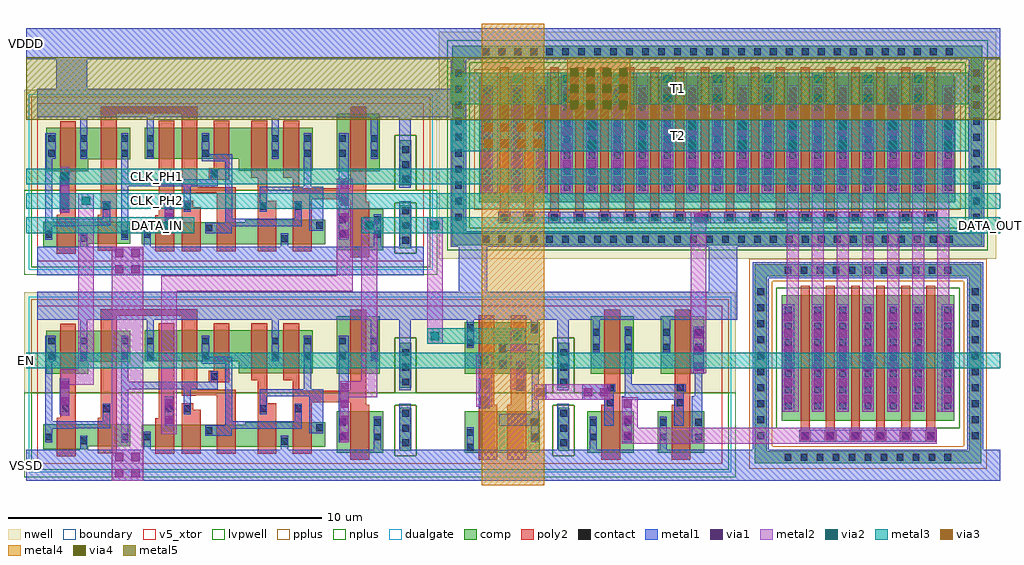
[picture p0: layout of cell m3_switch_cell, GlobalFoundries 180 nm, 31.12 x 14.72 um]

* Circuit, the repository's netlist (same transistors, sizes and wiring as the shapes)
* NGSPICE file created from switch_cell.ext - technology: gf180mcuD

.subckt gf180mcu_fd_sc_mcu9t5v0__latq_1 D E Q VDD VSS VNW VPW
X0 VSS a_1020_652# Q VPW nfet_06v0 ad=0.5808p pd=3.52u as=0.5808p ps=3.52u w=1.32u l=0.6u
X1 a_504_110# a_36_92# VDD VNW pfet_06v0 ad=0.44p pd=2.88u as=0.476p ps=2.18u w=1u l=0.5u
X2 VDD a_1020_652# Q VNW pfet_06v0 ad=0.8052p pd=4.54u as=0.8052p ps=4.54u w=1.83u l=0.5u
X3 a_1264_107# a_36_92# a_1020_652# VPW nfet_06v0 ad=0.263p pd=1.49u as=0.182p ps=1.22u w=0.7u l=0.6u
X4 VSS E a_36_92# VPW nfet_06v0 ad=0.263p pd=1.49u as=0.3476p ps=2.46u w=0.79u l=0.6u
X5 VSS a_1364_532# a_1264_107# VPW nfet_06v0 ad=0.2054p pd=1.31u as=0.263p ps=1.49u w=0.79u l=0.6u
X6 VDD E a_36_92# VNW pfet_06v0 ad=0.476p pd=2.18u as=0.6072p ps=3.64u w=1.38u l=0.5u
X7 VDD a_1364_532# a_1224_652# VNW pfet_06v0 ad=0.3588p pd=1.9u as=0.426p ps=2.08u w=1.38u l=0.5u
X8 a_872_652# D VDD VNW pfet_06v0 ad=0.12p pd=1.24u as=0.44p ps=2.88u w=1u l=0.5u
X9 a_1364_532# a_1020_652# VDD VNW pfet_06v0 ad=0.6072p pd=3.64u as=0.3588p ps=1.9u w=1.38u l=0.5u
X10 a_1020_652# a_504_110# a_872_107# VPW nfet_06v0 ad=0.182p pd=1.22u as=83.99999f ps=0.94u w=0.7u l=0.6u
X11 a_872_107# D VSS VPW nfet_06v0 ad=83.99999f pd=0.94u as=0.308p ps=2.28u w=0.7u l=0.6u
X12 a_1020_652# a_36_92# a_872_652# VNW pfet_06v0 ad=0.26p pd=1.52u as=0.12p ps=1.24u w=1u l=0.5u
X13 a_504_110# a_36_92# VSS VPW nfet_06v0 ad=0.308p pd=2.28u as=0.263p ps=1.49u w=0.7u l=0.6u
X14 a_1364_532# a_1020_652# VSS VPW nfet_06v0 ad=0.3476p pd=2.46u as=0.2054p ps=1.31u w=0.79u l=0.6u
X15 a_1224_652# a_504_110# a_1020_652# VNW pfet_06v0 ad=0.426p pd=2.08u as=0.26p ps=1.52u w=1u l=0.5u
.ends

.subckt dff_2ph_clk$1 Q CLK_PH1 CLK_PH2 D VDDD VSSD
Xgf180mcu_fd_sc_mcu9t5v0__latq_1_0 gf180mcu_fd_sc_mcu9t5v0__latq_1_1/Q CLK_PH2 Q VDDD
+ VSSD VDDD VSSD gf180mcu_fd_sc_mcu9t5v0__latq_1
Xgf180mcu_fd_sc_mcu9t5v0__latq_1_1 D CLK_PH1 gf180mcu_fd_sc_mcu9t5v0__latq_1_1/Q VDDD
+ VSSD VDDD VSSD gf180mcu_fd_sc_mcu9t5v0__latq_1
.ends

.subckt pfet G S D B
X0 S G D B pfet_03v3 ad=1.04p pd=4.52u as=1.04p ps=4.52u w=4u l=0.28u
X1 D G S B pfet_03v3 ad=1.04p pd=4.52u as=1.04p ps=4.52u w=4u l=0.28u
X2 D G S B pfet_03v3 ad=1.04p pd=4.52u as=1.04p ps=4.52u w=4u l=0.28u
X3 S G D B pfet_03v3 ad=1.04p pd=4.52u as=1.04p ps=4.52u w=4u l=0.28u
X4 S G D B pfet_03v3 ad=1.04p pd=4.52u as=1.04p ps=4.52u w=4u l=0.28u
X5 S G D B pfet_03v3 ad=1.04p pd=4.52u as=1.04p ps=4.52u w=4u l=0.28u
X6 D G S B pfet_03v3 ad=1.04p pd=4.52u as=1.04p ps=4.52u w=4u l=0.28u
X7 S G D B pfet_03v3 ad=1.04p pd=4.52u as=1.04p ps=4.52u w=4u l=0.28u
X8 D G S B pfet_03v3 ad=1.04p pd=4.52u as=1.04p ps=4.52u w=4u l=0.28u
X9 D G S B pfet_03v3 ad=1.04p pd=4.52u as=1.04p ps=4.52u w=4u l=0.28u
X10 S G D B pfet_03v3 ad=2.6p pd=9.3u as=1.04p ps=4.52u w=4u l=0.28u
X11 S G D B pfet_03v3 ad=1.04p pd=4.52u as=1.04p ps=4.52u w=4u l=0.28u
X12 D G S B pfet_03v3 ad=1.04p pd=4.52u as=1.04p ps=4.52u w=4u l=0.28u
X13 D G S B pfet_03v3 ad=1.04p pd=4.52u as=2.6p ps=9.3u w=4u l=0.28u
X14 S G D B pfet_03v3 ad=1.04p pd=4.52u as=1.04p ps=4.52u w=4u l=0.28u
X15 D G S B pfet_03v3 ad=1.04p pd=4.52u as=1.04p ps=4.52u w=4u l=0.28u
X16 S G D B pfet_03v3 ad=1.04p pd=4.52u as=1.04p ps=4.52u w=4u l=0.28u
X17 D G S B pfet_03v3 ad=1.04p pd=4.52u as=1.04p ps=4.52u w=4u l=0.28u
.ends

.subckt gf180mcu_fd_sc_mcu9t5v0__nand2_1 A1 A2 VDD VSS ZN VNW VPW
X0 ZN A2 VDD VNW pfet_06v0 ad=0.4277p pd=2.165u as=0.7238p ps=4.17u w=1.645u l=0.5u
X1 VDD A1 ZN VNW pfet_06v0 ad=0.7238p pd=4.17u as=0.4277p ps=2.165u w=1.645u l=0.5u
X2 ZN A1 a_245_69# VPW nfet_06v0 ad=0.5808p pd=3.52u as=0.2112p ps=1.64u w=1.32u l=0.6u
X3 a_245_69# A2 VSS VPW nfet_06v0 ad=0.2112p pd=1.64u as=0.5808p ps=3.52u w=1.32u l=0.6u
.ends

.subckt gf180mcu_fd_sc_mcu9t5v0__inv_1 I VDD VSS ZN VNW VPW
X0 ZN I VDD VNW pfet_06v0 ad=0.8052p pd=4.54u as=0.8052p ps=4.54u w=1.83u l=0.5u
X1 ZN I VSS VPW nfet_06v0 ad=0.5808p pd=3.52u as=0.5808p ps=3.52u w=1.32u l=0.6u
.ends

.subckt nfet G B D S
X0 D G S B nfet_03v3 ad=1.04p pd=4.52u as=1.04p ps=4.52u w=4u l=0.28u
X1 S G D B nfet_03v3 ad=1.04p pd=4.52u as=1.04p ps=4.52u w=4u l=0.28u
X2 S G D B nfet_03v3 ad=1.04p pd=4.52u as=1.04p ps=4.52u w=4u l=0.28u
X3 S G D B nfet_03v3 ad=2.44p pd=9.22u as=1.04p ps=4.52u w=4u l=0.28u
X4 D G S B nfet_03v3 ad=1.04p pd=4.52u as=2.44p ps=9.22u w=4u l=0.28u
X5 D G S B nfet_03v3 ad=1.04p pd=4.52u as=1.04p ps=4.52u w=4u l=0.28u
.ends

.subckt tgate$1 T1 T2 CON EN VSSD VDDD
Xpfet_0 pfet_0/G T2 T1 VDDD pfet
Xgf180mcu_fd_sc_mcu9t5v0__nand2_1_0 CON EN VDDD VSSD gf180mcu_fd_sc_mcu9t5v0__inv_1_0/I
+ VDDD VSSD gf180mcu_fd_sc_mcu9t5v0__nand2_1
Xgf180mcu_fd_sc_mcu9t5v0__inv_1_0 gf180mcu_fd_sc_mcu9t5v0__inv_1_0/I VDDD VSSD nfet_0/G
+ VDDD VSSD gf180mcu_fd_sc_mcu9t5v0__inv_1
Xgf180mcu_fd_sc_mcu9t5v0__inv_1_1 nfet_0/G VDDD VSSD pfet_0/G VDDD VSSD gf180mcu_fd_sc_mcu9t5v0__inv_1
Xnfet_0 nfet_0/G VSSD T1 T2 nfet
.ends

.subckt switch_cell VSSD VDDD T2 EN T1 DATA_IN CLK_PH2 CLK_PH1 DATA_OUT
Xdff_2ph_clk$1_0 DATA_OUT CLK_PH1 CLK_PH2 DATA_IN VDDD VSSD dff_2ph_clk$1
Xtgate$1_0 T1 T2 DATA_OUT EN VSSD VDDD tgate$1
.ends

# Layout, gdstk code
import gdstk
lib = gdstk.Library(unit=1e-6, precision=5e-09)
def R(c, l, rs):  # rectangles x0, y0, x1, y1
    for r in rs: c.add(gdstk.rectangle(r[:2], r[2:], *l))
def A(c, l, x, y, w, h, nx, ny, dx, dy):  # array of equal rectangles
    R(c, l, [(x+i*dx, y+j*dy, x+i*dx+w, y+j*dy+h) for i in range(nx) for j in range(ny)])
def P(c, l, *ps):  # polygons
    for p in ps: c.add(gdstk.Polygon(p, *l))
boundary = (0, 0)
nwell = (21, 0)
comp = (22, 0)
poly2 = (30, 0)
pplus = (31, 0)
nplus = (32, 0)
contact = (33, 0)
metal1 = (34, 0)
via1 = (35, 0)
metal2 = (36, 0)
via2 = (38, 0)
via3 = (40, 0)
via4 = (41, 0)
metal3 = (42, 0)
metal4 = (46, 0)
dualgate = (55, 0)
metal5 = (81, 0)
v5_xtor = (112, 1)
lvpwell = (204, 0)

gf180mcu_fd_sc_mcu9t5v0_ = lib.new_cell('gf180mcu_fd_sc_mcu9t5v0__latq_1$1')
R(gf180mcu_fd_sc_mcu9t5v0_, boundary, [(0,0,11.2,5.04)])
R(gf180mcu_fd_sc_mcu9t5v0_, nwell, [(-0.43,2.265,11.63,5.47)])
R(gf180mcu_fd_sc_mcu9t5v0_, comp, [(9.54,0.345,11.02,1.665), (9.54,2.865,10.92,4.695)])
P(gf180mcu_fd_sc_mcu9t5v0_, comp, [(0.18,0.46),(0.18,1.25),(2.96,1.25),(2.96,0.55),(1.62,0.55),(1.62,0.46)],
  [(0.28,2.865),(0.28,4.245),(2.96,4.245),(2.96,3.245),(1.62,3.245),(1.62,2.865)],
  [(6.42,2.88),(6.42,3.26),(3.42,3.26),(3.42,4.26),(8.78,4.26),(8.78,2.88)],
  [(3.32,0.535),(3.32,1.235),(6.62,1.235),(6.62,1.325),(9.18,1.325),(9.18,0.535)])
P(gf180mcu_fd_sc_mcu9t5v0_, poly2, [(0.62,0.24),(0.62,1.47),(0.72,1.47),(0.72,4.465),(1.22,4.465),(1.22,0.24)],
  [(3.76,0.315),(3.76,1.455),(3.86,1.455),(3.86,4.48),(4.36,4.48),(4.36,0.315)],
  [(4.6,0.315),(4.6,1.925),(4.96,1.925),(4.96,1.715),(5.2,1.715),(5.2,0.315)],
  [(5.46,2.6),(5.46,2.96),(5.62,2.96),(5.62,4.48),(6.12,4.48),(6.12,3.04),(6.115,3.04),(6.115,2.6)],
  [(5.72,0.315),(5.72,2.16),(5.055,2.16),(5.055,2.165),(4.6,2.165),(4.6,4.72),(2.52,4.72),(2.52,0.33),(1.92,0.33),(1.92,1.47),(2.02,1.47),(2.02,4.92),(5.1,4.92),(5.1,2.36),(6.32,2.36),(6.32,0.315)],
  [(7.02,0.315),(7.02,2.66),(6.82,2.66),(6.82,4.48),(7.32,4.48),(7.32,1.925),(7.62,1.925),(7.62,0.315)],
  [(9.98,0.125),(9.98,1.965),(8.74,1.965),(8.74,0.315),(8.14,0.315),(8.14,2.66),(7.84,2.66),(7.84,4.48),(8.34,4.48),(8.34,2.325),(9.98,2.325),(9.98,4.915),(10.48,4.915),(10.48,1.885),(10.58,1.885),(10.58,0.125)])
R(gf180mcu_fd_sc_mcu9t5v0_, pplus, [(-0.2,2.265,11.4,5.24)])
R(gf180mcu_fd_sc_mcu9t5v0_, nplus, [(-0.2,-0.2,11.4,2.265)])
R(gf180mcu_fd_sc_mcu9t5v0_, contact, [(7.77,0.605,7.99,0.825), (1.37,0.615,1.59,0.835), (0.25,0.74,0.47,0.96), (2.67,0.74,2.89,0.96), (3.39,0.74,3.61,0.96), (9.61,0.74,9.83,0.96), (10.73,0.74,10.95,0.96), (5.35,0.945,5.57,1.165), (8.89,1.035,9.11,1.255), (9.61,1.21,9.83,1.43), (10.73,1.21,10.95,1.43), (0.79,1.635,1.01,1.855), (2.09,1.635,2.31,1.855), (4.07,1.635,4.29,1.855), (4.67,1.635,4.89,1.855), (7.09,1.635,7.31,1.855), (8.21,1.635,8.43,1.855), (5.53,2.67,5.75,2.89), (0.35,3.33,0.57,3.55), (1.37,3.33,1.59,3.55), (2.67,3.33,2.89,3.55), (3.49,3.33,3.71,3.55), (5.25,3.33,5.47,3.55), (7.47,3.33,7.69,3.55), (8.49,3.33,8.71,3.55), (9.61,3.33,9.83,3.55), (10.63,3.33,10.85,3.55), (0.35,3.8,0.57,4.02), (1.37,3.8,1.59,4.02), (2.67,3.8,2.89,4.02), (3.49,3.8,3.71,4.02), (5.25,3.8,5.47,4.02), (7.47,3.8,7.69,4.02), (8.49,3.8,8.71,4.02), (9.61,3.8,9.83,4.02), (10.63,3.8,10.85,4.02)])
R(gf180mcu_fd_sc_mcu9t5v0_, metal1, [(9.605,0.68,9.93,4.08), (4.065,1.21,4.33,2.15), (0.71,1.575,1.015,2.71)])
P(gf180mcu_fd_sc_mcu9t5v0_, metal1, [(0.245,0.68),(0.245,4.08),(0.575,4.08),(0.575,3.27),(0.475,3.27),(0.475,1.345),(1.085,1.345),(1.085,1.355),(2.085,1.355),(2.085,1.915),(2.315,1.915),(2.315,1.125),(1.155,1.125),(1.155,1.115),(0.475,1.115),(0.475,0.68)],
  [(2.665,0.68),(2.665,4.08),(2.895,4.08),(2.895,2.61),(5.525,2.61),(5.525,2.95),(5.755,2.95),(5.755,2.38),(4.895,2.38),(4.895,1.575),(4.665,1.575),(4.665,2.38),(2.895,2.38),(2.895,0.68)],
  [(5.345,0.885),(5.345,1.225),(5.985,1.225),(5.985,3.18),(5.245,3.18),(5.245,4.08),(5.475,4.08),(5.475,3.41),(6.215,3.41),(6.215,1.345),(8.205,1.345),(8.205,1.915),(8.435,1.915),(8.435,1.115),(6.19,1.115),(6.19,0.885)],
  [(8.665,0.975),(8.665,2.145),(7.315,2.145),(7.315,1.575),(7.085,1.575),(7.085,2.375),(8.485,2.375),(8.485,4.08),(8.735,4.08),(8.735,2.365),(9.115,2.365),(9.115,0.975)],
  [(0,-0.45),(0,0.45),(1.365,0.45),(1.365,0.895),(1.595,0.895),(1.595,0.45),(3.385,0.45),(3.385,1.02),(3.615,1.02),(3.615,0.45),(7.765,0.45),(7.765,0.885),(7.995,0.885),(7.995,0.45),(10.725,0.45),(10.725,1.49),(10.955,1.49),(10.955,0.45),(11.2,0.45),(11.2,-0.45)],
  [(1.365,3.27),(1.365,4.59),(0,4.59),(0,5.49),(11.2,5.49),(11.2,4.59),(10.855,4.59),(10.855,3.27),(10.625,3.27),(10.625,4.59),(7.695,4.59),(7.695,3.27),(7.465,3.27),(7.465,4.59),(3.715,4.59),(3.715,3.27),(3.485,3.27),(3.485,4.59),(1.595,4.59),(1.595,3.27)])
R(gf180mcu_fd_sc_mcu9t5v0_, dualgate, [(-0.28,-0.28,11.48,5.32)])
R(gf180mcu_fd_sc_mcu9t5v0_, v5_xtor, [(0,0,11.2,5.04)])
R(gf180mcu_fd_sc_mcu9t5v0_, lvpwell, [(-0.43,-0.43,11.63,2.265)])
gf180mcu_fd_sc_mcu9t5v0_.add(gdstk.Label('D', (4.2,1.4), layer=34, texttype=10))
gf180mcu_fd_sc_mcu9t5v0_.add(gdstk.Label('E', (0.84,1.96), layer=34, texttype=10))
gf180mcu_fd_sc_mcu9t5v0_.add(gdstk.Label('Q', (9.8,2.52), layer=34, texttype=10))
gf180mcu_fd_sc_mcu9t5v0_.add(gdstk.Label('VDD', (5.6,5.49), layer=34, texttype=10))
gf180mcu_fd_sc_mcu9t5v0_.add(gdstk.Label('VSS', (5.6,-0.45), layer=34, texttype=10))
gf180mcu_fd_sc_mcu9t5v0_.add(gdstk.Label('& Vendor GLOBALFOUNDRIES', (0,2), layer=63, texttype=63))
gf180mcu_fd_sc_mcu9t5v0_.add(gdstk.Label('& Product GF018hv5v_green_sc9', (0,1.5), layer=63, texttype=63))
gf180mcu_fd_sc_mcu9t5v0_.add(gdstk.Label('& Version 2015q2v2', (0,1), layer=63, texttype=63))
gf180mcu_fd_sc_mcu9t5v0_.add(gdstk.Label('& Metric 1.00', (0,0.5), layer=63, texttype=63))
gf180mcu_fd_sc_mcu9t5v0_.add(gdstk.Label('VNW', (0.345,3.92), layer=21, texttype=10))
gf180mcu_fd_sc_mcu9t5v0_.add(gdstk.Label('VPW', (0.34,-0.085), layer=204, texttype=10))

c_gf180mcu_fd_sc_mcu9t5v0_ = lib.new_cell('gf180mcu_fd_sc_mcu9t5v0__filltie$2')
R(c_gf180mcu_fd_sc_mcu9t5v0_, boundary, [(0,0,1.12,5.04)])
R(c_gf180mcu_fd_sc_mcu9t5v0_, nwell, [(-0.43,2.265,1.55,5.47)])
R(c_gf180mcu_fd_sc_mcu9t5v0_, comp, [(0.36,0.41,0.72,1.785), (0.36,2.425,0.72,3.855)])
R(c_gf180mcu_fd_sc_mcu9t5v0_, pplus, [(0.2,0.25,0.88,1.865)])
P(c_gf180mcu_fd_sc_mcu9t5v0_, pplus, [(-0.2,2.265),(-0.2,5.24),(1.32,5.24),(1.32,2.265),(0.88,2.265),(0.88,4.015),(0.2,4.015),(0.2,2.265)])
P(c_gf180mcu_fd_sc_mcu9t5v0_, nplus, [(-0.2,-0.2),(-0.2,2.265),(0.2,2.265),(0.2,4.015),(0.88,4.015),(0.88,1.865),(0.2,1.865),(0.2,0.25),(0.88,0.25),(0.88,4.015),(0.88,2.265),(1.32,2.265),(1.32,-0.2)])
A(c_gf180mcu_fd_sc_mcu9t5v0_, contact, 0.43, 0.555, 0.22, 0.22, 1, 3, 0, 0.47)
A(c_gf180mcu_fd_sc_mcu9t5v0_, contact, 0.43, 2.495, 0.22, 0.22, 1, 3, 0, 0.47)
P(c_gf180mcu_fd_sc_mcu9t5v0_, metal1, [(0,-0.45),(0,0.45),(0.33,0.45),(0.33,1.91),(0.71,1.91),(0.71,0.45),(1.12,0.45),(1.12,-0.45)],
  [(0.33,2.34),(0.33,4.59),(0,4.59),(0,5.49),(1.12,5.49),(1.12,4.59),(0.71,4.59),(0.71,2.34)])
R(c_gf180mcu_fd_sc_mcu9t5v0_, dualgate, [(-0.28,-0.28,1.4,5.32)])
R(c_gf180mcu_fd_sc_mcu9t5v0_, v5_xtor, [(0,0,1.12,5.04)])
R(c_gf180mcu_fd_sc_mcu9t5v0_, lvpwell, [(-0.43,-0.43,1.55,2.265)])
c_gf180mcu_fd_sc_mcu9t5v0_.add(gdstk.Label('VSS', (0.56,-0.45), layer=34, texttype=10))
c_gf180mcu_fd_sc_mcu9t5v0_.add(gdstk.Label('VDD', (0.56,5.49), layer=34, texttype=10))
c_gf180mcu_fd_sc_mcu9t5v0_.add(gdstk.Label('& Vendor GLOBALFOUNDRIES', (0,2), layer=63, texttype=63))
c_gf180mcu_fd_sc_mcu9t5v0_.add(gdstk.Label('& Product GF018hv5v_green_sc9', (0,1.5), layer=63, texttype=63))
c_gf180mcu_fd_sc_mcu9t5v0_.add(gdstk.Label('& Version 2015q2v2', (0,1), layer=63, texttype=63))
c_gf180mcu_fd_sc_mcu9t5v0_.add(gdstk.Label('& Metric 1.00', (0,0.5), layer=63, texttype=63))

m3_dff_2ph_clk = lib.new_cell('m3_dff_2ph_clk')
R(m3_dff_2ph_clk, metal1, [(-11.2,-5.49,1.12,-4.59), (-11.2,-0.45,1.12,0.45)])
A(m3_dff_2ph_clk, via1, -1.54, -10.76, 0.26, 0.26, 1, 4, 0, 0.52)
A(m3_dff_2ph_clk, via1, -1.53, -4.3, 0.26, 0.26, 1, 4, 0, 0.52)
R(m3_dff_2ph_clk, via1, [(-7.135,-10.23,-6.875,-9.97), (-7.135,-9.71,-6.875,-9.45), (-10.455,-9.635,-10.195,-9.375), (-10.455,-9.115,-10.195,-8.855), (-7.135,-3.77,-6.875,-3.51), (-7.135,-3.25,-6.875,-2.99), (-10.455,-3.175,-10.195,-2.915), (-10.455,-2.655,-10.195,-2.395)])
R(m3_dff_2ph_clk, metal2, [(-1.55,-10.82,-1.27,-8.88), (-7.135,-10.56,-6.855,-9.385), (-10.465,-9.965,-10.185,-8.49), (-7.145,-4.1,-6.855,-2.925), (-10.465,-3.505,-10.185,-2.03)])
R(m3_dff_2ph_clk, via2, [(-7.135,-4.03,-6.875,-3.77), (-0.75,-4.03,-0.49,-3.77), (-9.785,-3.25,-9.525,-2.99), (-10.455,-2.47,-10.195,-2.21)])
m3_dff_2ph_clk.add(gdstk.FlexPath([(-11.205,-3.9),(-6.795,-3.9)], 0.5, ends="flush", simple_path=True, layer=42, datatype=0))  # metal3
m3_dff_2ph_clk.add(gdstk.FlexPath([(-0.87,-3.9),(1.12,-3.9)], 0.5, ends="flush", simple_path=True, layer=42, datatype=0))  # metal3
m3_dff_2ph_clk.add(gdstk.FlexPath([(-11.205,-3.12),(1.12,-3.12)], 0.5, ends="flush", simple_path=True, layer=42, datatype=0))  # metal3
m3_dff_2ph_clk.add(gdstk.FlexPath([(-11.205,-2.34),(1.12,-2.34)], 0.5, ends="flush", simple_path=True, layer=42, datatype=0))  # metal3
m3_dff_2ph_clk.add(gdstk.FlexPath([(-0.62,-3.65),(-0.62,-8.88)], 0.5, ends="flush", simple_path=True, layer=36, datatype=0))  # metal2
m3_dff_2ph_clk.add(gdstk.FlexPath([(-1.27,-9.13),(-0.37,-9.13)], 0.5, ends="flush", simple_path=True, layer=36, datatype=0))  # metal2
m3_dff_2ph_clk.add(gdstk.FlexPath([(-7.255,-5.75),(-1.15,-5.75)], 0.5, ends="flush", simple_path=True, layer=36, datatype=0))  # metal2
m3_dff_2ph_clk.add(gdstk.FlexPath([(-9.655,-2.87),(-9.655,-8.99)], 0.5, ends="flush", simple_path=True, layer=36, datatype=0))  # metal2
m3_dff_2ph_clk.add(gdstk.FlexPath([(-10.185,-8.74),(-9.905,-8.74)], 0.5, ends="flush", simple_path=True, layer=36, datatype=0))  # metal2
m3_dff_2ph_clk.add(gdstk.FlexPath([(-1.4,-2.42),(-1.4,-5.5)], 0.5, ends="flush", simple_path=True, layer=36, datatype=0))  # metal2
m3_dff_2ph_clk.add(gdstk.FlexPath([(-7.005,-6),(-7.005,-10.56)], 0.5, ends="flush", simple_path=True, layer=36, datatype=0))  # metal2
m3_dff_2ph_clk.add(gdstk.Reference(gf180mcu_fd_sc_mcu9t5v0_, (-11.2,-5.04)))
m3_dff_2ph_clk.add(gdstk.Reference(c_gf180mcu_fd_sc_mcu9t5v0_, (0,-5.04)))
m3_dff_2ph_clk.add(gdstk.Reference(gf180mcu_fd_sc_mcu9t5v0_, (-11.2,-11.5)))
m3_dff_2ph_clk.add(gdstk.Reference(c_gf180mcu_fd_sc_mcu9t5v0_, (0,-11.5)))
m3_dff_2ph_clk.add(gdstk.Label('VSSD', (-11.185,-11.945), layer=34, texttype=10))
m3_dff_2ph_clk.add(gdstk.Label('VDDD', (-11.185,-6.025), layer=34, texttype=10))
m3_dff_2ph_clk.add(gdstk.Label('VSSD', (-11.19,-5.48), layer=34, texttype=10))
m3_dff_2ph_clk.add(gdstk.Label('VDDD', (-11.19,0.44), layer=34, texttype=10))
m3_dff_2ph_clk.add(gdstk.Label('Q', (1.105,-3.9), layer=42, texttype=10))
m3_dff_2ph_clk.add(gdstk.Label('CLK_PH1', (-11.195,-2.34), layer=42, texttype=10))
m3_dff_2ph_clk.add(gdstk.Label('CLK_PH2', (-11.195,-3.12), layer=42, texttype=10))
m3_dff_2ph_clk.add(gdstk.Label('D', (-11.195,-3.9), layer=42, texttype=10))

c_gf180mcu_fd_sc_mcu9t5v0__ = lib.new_cell('gf180mcu_fd_sc_mcu9t5v0__fill_2')
R(c_gf180mcu_fd_sc_mcu9t5v0__, boundary, [(0,0,1.12,5.04)])
R(c_gf180mcu_fd_sc_mcu9t5v0__, nwell, [(-0.43,2.265,1.55,5.47)])
R(c_gf180mcu_fd_sc_mcu9t5v0__, pplus, [(-0.2,2.265,1.32,5.24)])
R(c_gf180mcu_fd_sc_mcu9t5v0__, nplus, [(-0.2,-0.2,1.32,2.265)])
R(c_gf180mcu_fd_sc_mcu9t5v0__, metal1, [(0,-0.45,1.12,0.45), (0,4.59,1.12,5.49)])
R(c_gf180mcu_fd_sc_mcu9t5v0__, dualgate, [(-0.28,-0.28,1.4,5.32)])
R(c_gf180mcu_fd_sc_mcu9t5v0__, v5_xtor, [(0,0,1.12,5.04)])
R(c_gf180mcu_fd_sc_mcu9t5v0__, lvpwell, [(-0.43,-0.43,1.55,2.265)])
c_gf180mcu_fd_sc_mcu9t5v0__.add(gdstk.Label('VDD', (0.51,5), layer=34, texttype=10))
c_gf180mcu_fd_sc_mcu9t5v0__.add(gdstk.Label('VSS', (0.52,0), layer=34, texttype=10))
c_gf180mcu_fd_sc_mcu9t5v0__.add(gdstk.Label('& Vendor GLOBALFOUNDRIES', (0,2), layer=63, texttype=63))
c_gf180mcu_fd_sc_mcu9t5v0__.add(gdstk.Label('& Product GF018hv5v_green_sc9', (0,1.5), layer=63, texttype=63))
c_gf180mcu_fd_sc_mcu9t5v0__.add(gdstk.Label('& Version 2015q2v2', (0,1), layer=63, texttype=63))
c_gf180mcu_fd_sc_mcu9t5v0__.add(gdstk.Label('& Metric 1.00', (0,0.5), layer=63, texttype=63))
c_gf180mcu_fd_sc_mcu9t5v0__.add(gdstk.Label('VNW', (0.345,3.92), layer=21, texttype=10))
c_gf180mcu_fd_sc_mcu9t5v0__.add(gdstk.Label('VPW', (0.34,-0.085), layer=204, texttype=10))

c_gf180mcu_fd_sc_mcu9t5v0___ = lib.new_cell('gf180mcu_fd_sc_mcu9t5v0__filltie')
R(c_gf180mcu_fd_sc_mcu9t5v0___, boundary, [(0,0,1.12,5.04)])
R(c_gf180mcu_fd_sc_mcu9t5v0___, nwell, [(-0.43,2.265,1.55,5.47)])
R(c_gf180mcu_fd_sc_mcu9t5v0___, comp, [(0.36,0.41,0.72,1.785), (0.36,2.425,0.72,3.855)])
R(c_gf180mcu_fd_sc_mcu9t5v0___, pplus, [(0.2,0.25,0.88,1.865)])
P(c_gf180mcu_fd_sc_mcu9t5v0___, pplus, [(-0.2,2.265),(-0.2,5.24),(1.32,5.24),(1.32,2.265),(0.88,2.265),(0.88,4.015),(0.2,4.015),(0.2,2.265)])
P(c_gf180mcu_fd_sc_mcu9t5v0___, nplus, [(-0.2,-0.2),(-0.2,2.265),(0.2,2.265),(0.2,4.015),(0.88,4.015),(0.88,1.865),(0.2,1.865),(0.2,0.25),(0.88,0.25),(0.88,4.015),(0.88,2.265),(1.32,2.265),(1.32,-0.2)])
A(c_gf180mcu_fd_sc_mcu9t5v0___, contact, 0.43, 0.555, 0.22, 0.22, 1, 3, 0, 0.47)
A(c_gf180mcu_fd_sc_mcu9t5v0___, contact, 0.43, 2.495, 0.22, 0.22, 1, 3, 0, 0.47)
P(c_gf180mcu_fd_sc_mcu9t5v0___, metal1, [(0,-0.45),(0,0.45),(0.33,0.45),(0.33,1.91),(0.71,1.91),(0.71,0.45),(1.12,0.45),(1.12,-0.45)],
  [(0.33,2.34),(0.33,4.59),(0,4.59),(0,5.49),(1.12,5.49),(1.12,4.59),(0.71,4.59),(0.71,2.34)])
R(c_gf180mcu_fd_sc_mcu9t5v0___, dualgate, [(-0.28,-0.28,1.4,5.32)])
R(c_gf180mcu_fd_sc_mcu9t5v0___, v5_xtor, [(0,0,1.12,5.04)])
R(c_gf180mcu_fd_sc_mcu9t5v0___, lvpwell, [(-0.43,-0.43,1.55,2.265)])
c_gf180mcu_fd_sc_mcu9t5v0___.add(gdstk.Label('VSS', (0.56,-0.45), layer=34, texttype=10))
c_gf180mcu_fd_sc_mcu9t5v0___.add(gdstk.Label('VDD', (0.56,5.49), layer=34, texttype=10))
c_gf180mcu_fd_sc_mcu9t5v0___.add(gdstk.Label('& Vendor GLOBALFOUNDRIES', (0,2), layer=63, texttype=63))
c_gf180mcu_fd_sc_mcu9t5v0___.add(gdstk.Label('& Product GF018hv5v_green_sc9', (0,1.5), layer=63, texttype=63))
c_gf180mcu_fd_sc_mcu9t5v0___.add(gdstk.Label('& Version 2015q2v2', (0,1), layer=63, texttype=63))
c_gf180mcu_fd_sc_mcu9t5v0___.add(gdstk.Label('& Metric 1.00', (0,0.5), layer=63, texttype=63))

c_gf180mcu_fd_sc_mcu9t5v0____ = lib.new_cell('gf180mcu_fd_sc_mcu9t5v0__inv_1$1')
R(c_gf180mcu_fd_sc_mcu9t5v0____, boundary, [(0,0,2.24,5.04)])
R(c_gf180mcu_fd_sc_mcu9t5v0____, nwell, [(-0.43,2.265,2.67,5.47)])
R(c_gf180mcu_fd_sc_mcu9t5v0____, comp, [(0.18,0.345,1.66,1.665), (0.28,2.865,1.66,4.695)])
P(c_gf180mcu_fd_sc_mcu9t5v0____, poly2, [(0.62,0.125),(0.62,1.885),(0.72,1.885),(0.72,4.915),(1.22,4.915),(1.22,0.125)])
R(c_gf180mcu_fd_sc_mcu9t5v0____, pplus, [(-0.2,2.265,2.44,5.24)])
R(c_gf180mcu_fd_sc_mcu9t5v0____, nplus, [(-0.2,-0.2,2.44,2.265)])
R(c_gf180mcu_fd_sc_mcu9t5v0____, contact, [(0.25,0.74,0.47,0.96), (1.37,0.74,1.59,0.96), (0.25,1.21,0.47,1.43), (1.37,1.21,1.59,1.43), (0.79,1.835,1.01,2.055), (0.79,2.305,1.01,2.525), (0.35,3.61,0.57,3.83), (1.37,3.61,1.59,3.83), (0.35,4.08,0.57,4.3), (1.37,4.08,1.59,4.3)])
P(c_gf180mcu_fd_sc_mcu9t5v0____, metal1, [(0.71,1.21),(0.71,2.53),(1.07,2.53),(1.07,2.3),(1.015,2.3),(1.015,1.21)],
  [(1.27,0.68),(1.27,2.15),(1.365,2.15),(1.365,4.36),(1.595,4.36),(1.595,0.68)],
  [(0,-0.45),(0,0.45),(0.245,0.45),(0.245,1.49),(0.475,1.49),(0.475,0.45),(2.24,0.45),(2.24,-0.45)],
  [(0.345,3.55),(0.345,4.59),(0,4.59),(0,5.49),(2.24,5.49),(2.24,4.59),(0.575,4.59),(0.575,3.55)])
R(c_gf180mcu_fd_sc_mcu9t5v0____, dualgate, [(-0.28,-0.28,2.52,5.32)])
R(c_gf180mcu_fd_sc_mcu9t5v0____, v5_xtor, [(0,0,2.24,5.04)])
R(c_gf180mcu_fd_sc_mcu9t5v0____, lvpwell, [(-0.43,-0.43,2.67,2.265)])
c_gf180mcu_fd_sc_mcu9t5v0____.add(gdstk.Label('I', (0.84,1.96), layer=34, texttype=10))
c_gf180mcu_fd_sc_mcu9t5v0____.add(gdstk.Label('VDD', (1.12,5.49), layer=34, texttype=10))
c_gf180mcu_fd_sc_mcu9t5v0____.add(gdstk.Label('VSS', (1.12,-0.45), layer=34, texttype=10))
c_gf180mcu_fd_sc_mcu9t5v0____.add(gdstk.Label('ZN', (1.4,1.96), layer=34, texttype=10))
c_gf180mcu_fd_sc_mcu9t5v0____.add(gdstk.Label('& Vendor GLOBALFOUNDRIES', (0,2), layer=63, texttype=63))
c_gf180mcu_fd_sc_mcu9t5v0____.add(gdstk.Label('& Product GF018hv5v_green_sc9', (0,1.5), layer=63, texttype=63))
c_gf180mcu_fd_sc_mcu9t5v0____.add(gdstk.Label('& Version 2015q2v2', (0,1), layer=63, texttype=63))
c_gf180mcu_fd_sc_mcu9t5v0____.add(gdstk.Label('& Metric 1.00', (0,0.5), layer=63, texttype=63))
c_gf180mcu_fd_sc_mcu9t5v0____.add(gdstk.Label('VNW', (0.345,3.92), layer=21, texttype=10))
c_gf180mcu_fd_sc_mcu9t5v0____.add(gdstk.Label('VPW', (0.34,-0.085), layer=204, texttype=10))

c_gf180mcu_fd_sc_mcu9t5v0_____ = lib.new_cell('gf180mcu_fd_sc_mcu9t5v0__nand2_1$1')
R(c_gf180mcu_fd_sc_mcu9t5v0_____, boundary, [(0,0,2.8,5.04)])
R(c_gf180mcu_fd_sc_mcu9t5v0_____, nwell, [(-0.43,2.265,3.23,5.47)])
R(c_gf180mcu_fd_sc_mcu9t5v0_____, comp, [(0.185,0.345,2.585,1.665), (0.185,2.865,2.585,4.51)])
P(c_gf180mcu_fd_sc_mcu9t5v0_____, poly2, [(0.625,0.125),(0.625,4.73),(1.125,4.73),(1.125,1.885),(1.225,1.885),(1.225,0.125)],
  [(1.545,0.125),(1.545,1.885),(1.645,1.885),(1.645,4.73),(2.145,4.73),(2.145,0.125)])
R(c_gf180mcu_fd_sc_mcu9t5v0_____, pplus, [(-0.2,2.265,3,5.24)])
R(c_gf180mcu_fd_sc_mcu9t5v0_____, nplus, [(-0.2,-0.2,3,2.265)])
R(c_gf180mcu_fd_sc_mcu9t5v0_____, contact, [(0.255,0.415,0.475,0.635), (2.295,0.74,2.515,0.96), (0.255,0.885,0.475,1.105), (2.295,1.21,2.515,1.43), (1.835,2.39,2.055,2.61), (0.695,2.475,0.915,2.695), (1.275,3.08,1.495,3.3), (1.275,3.55,1.495,3.77), (0.255,3.75,0.475,3.97), (0.255,4.22,0.475,4.44), (2.295,4.22,2.515,4.44)])
R(c_gf180mcu_fd_sc_mcu9t5v0_____, metal1, [(0.635,1.77,0.975,2.71), (1.83,2.33,2.09,3.27)])
P(c_gf180mcu_fd_sc_mcu9t5v0_____, metal1, [(2.29,0.68),(2.29,1.21),(1.27,1.21),(1.27,1.59),(2.32,1.59),(2.32,3.6),(1.53,3.6),(1.53,3.02),(1.27,3.02),(1.27,3.83),(2.55,3.83),(2.55,0.68)],
  [(0,-0.45),(0,0.45),(0.25,0.45),(0.25,1.165),(0.48,1.165),(0.48,0.45),(2.8,0.45),(2.8,-0.45)],
  [(0.25,3.69),(0.25,4.59),(0,4.59),(0,5.49),(2.8,5.49),(2.8,4.59),(2.52,4.59),(2.52,4.16),(2.29,4.16),(2.29,4.59),(0.48,4.59),(0.48,3.69)])
R(c_gf180mcu_fd_sc_mcu9t5v0_____, dualgate, [(-0.28,-0.28,3.08,5.32)])
R(c_gf180mcu_fd_sc_mcu9t5v0_____, v5_xtor, [(0,0,2.8,5.04)])
R(c_gf180mcu_fd_sc_mcu9t5v0_____, lvpwell, [(-0.43,-0.43,3.23,2.265)])
c_gf180mcu_fd_sc_mcu9t5v0_____.add(gdstk.Label('A1', (1.96,2.52), layer=34, texttype=10))
c_gf180mcu_fd_sc_mcu9t5v0_____.add(gdstk.Label('A2', (0.84,1.96), layer=34, texttype=10))
c_gf180mcu_fd_sc_mcu9t5v0_____.add(gdstk.Label('VDD', (1.4,5.49), layer=34, texttype=10))
c_gf180mcu_fd_sc_mcu9t5v0_____.add(gdstk.Label('VSS', (1.4,-0.45), layer=34, texttype=10))
c_gf180mcu_fd_sc_mcu9t5v0_____.add(gdstk.Label('ZN', (1.96,1.4), layer=34, texttype=10))
c_gf180mcu_fd_sc_mcu9t5v0_____.add(gdstk.Label('& Vendor GLOBALFOUNDRIES', (0,2), layer=63, texttype=63))
c_gf180mcu_fd_sc_mcu9t5v0_____.add(gdstk.Label('& Product GF018hv5v_green_sc9', (0,1.5), layer=63, texttype=63))
c_gf180mcu_fd_sc_mcu9t5v0_____.add(gdstk.Label('& Version 2015q2v2', (0,1), layer=63, texttype=63))
c_gf180mcu_fd_sc_mcu9t5v0_____.add(gdstk.Label('& Metric 1.00', (0,0.5), layer=63, texttype=63))
c_gf180mcu_fd_sc_mcu9t5v0_____.add(gdstk.Label('VNW', (0.345,3.92), layer=21, texttype=10))
c_gf180mcu_fd_sc_mcu9t5v0_____.add(gdstk.Label('VPW', (0.34,-0.085), layer=204, texttype=10))

nfet_1 = lib.new_cell('nfet$1')
R(nfet_1, comp, [(-0.42,0,0,4), (0,0,4.66,4), (4.66,0,5.08,4)])
P(nfet_1, comp, [(-1.28,-1.36),(-1.28,4.61),(-0.9,4.61),(-0.9,-0.98),(5.56,-0.98),(5.56,4.61),(-1.28,4.61),(-1.28,4.99),(5.94,4.99),(5.94,-1.36)])
A(nfet_1, poly2, 0.15, -0.66, 0.36, 0.36, 6, 1, 0.8, 0)
A(nfet_1, poly2, 0.19, -0.3, 0.28, 4.6, 6, 1, 0.8, 0)
P(nfet_1, pplus, [(-1.45,-1.53),(-1.45,4.44),(-0.73,4.44),(-0.73,-0.81),(5.39,-0.81),(5.39,4.44),(-1.45,4.44),(-1.45,5.16),(6.11,5.16),(6.11,-1.53)])
R(nfet_1, nplus, [(-0.59,-0.24,5.25,4.24)])
A(nfet_1, contact, -0.33, -1.28, 0.22, 0.22, 11, 2, 0.51, 5.97)
A(nfet_1, contact, -1.2, -0.59, 0.22, 0.22, 1, 10, 0, 0.51)
A(nfet_1, contact, 0.22, -0.59, 0.22, 0.22, 6, 1, 0.8, 0)
A(nfet_1, contact, 5.64, -0.59, 0.22, 0.22, 1, 10, 0, 0.51)
A(nfet_1, contact, -0.32, 0.36, 0.22, 0.22, 1, 7, 0, 0.51)
A(nfet_1, contact, 0.62, 0.36, 0.22, 0.22, 5, 7, 0.8, 0.51)
A(nfet_1, contact, 4.76, 0.36, 0.22, 0.22, 1, 7, 0, 0.51)
A(nfet_1, metal1, 0.14, -0.67, 0.38, 0.38, 6, 1, 0.8, 0)
A(nfet_1, metal1, 0.54, 0.28, 0.38, 3.44, 5, 1, 0.8, 0)
R(nfet_1, metal1, [(-0.4,0.28,-0.02,3.72), (4.68,0.28,5.06,3.72)])
nfet_1.add(gdstk.FlexPath([(0.14,-0.48),(4.52,-0.48)], 0.38, ends="flush", simple_path=True, layer=34, datatype=0))  # metal1
nfet_1.add(gdstk.FlexPath([(-1.34,4.8),(5.75,4.8),(5.75,-1.17),(-1.09,-1.17),(-1.09,4.55)], 0.5, ends="flush", simple_path=True, layer=34, datatype=0))  # metal1
nfet_1.add(gdstk.Label('G', (0.22,-0.59), layer=34, texttype=10))
nfet_1.add(gdstk.Label('B', (-1.09,-1.17), layer=34, texttype=10))
nfet_1.add(gdstk.Label('D', (0.62,0.36), layer=34, texttype=10))
nfet_1.add(gdstk.Label('S', (-0.32,0.36), layer=34, texttype=10))
nfet_1.add(gdstk.Label('S', (1.42,0.36), layer=34, texttype=10))
nfet_1.add(gdstk.Label('S', (4.76,0.36), layer=34, texttype=10))
nfet_1.add(gdstk.Label('S', (3.02,0.36), layer=34, texttype=10))
nfet_1.add(gdstk.Label('D', (2.22,0.36), layer=34, texttype=10))
nfet_1.add(gdstk.Label('D', (3.82,0.36), layer=34, texttype=10))

pfet_1 = lib.new_cell('pfet$1')
R(pfet_1, nwell, [(-1.76,-1.81,16.02,5.43)])
R(pfet_1, comp, [(-0.46,0,0,4), (0,0,14.26,4), (14.26,0,14.72,4)])
P(pfet_1, comp, [(-1.32,-1.37),(-1.32,4.61),(-0.94,4.61),(-0.94,-0.99),(15.2,-0.99),(15.2,4.61),(-1.32,4.61),(-1.32,4.99),(15.58,4.99),(15.58,-1.37)])
A(pfet_1, poly2, 0.14, -0.68, 0.38, 0.38, 18, 1, 0.8, 0)
A(pfet_1, poly2, 0.19, -0.3, 0.28, 4.6, 18, 1, 0.8, 0)
R(pfet_1, pplus, [(-0.63,-0.24,14.89,4.24)])
A(pfet_1, contact, -0.375, -1.29, 0.22, 0.22, 30, 2, 0.51, 5.98)
A(pfet_1, contact, 0.22, -0.6, 0.22, 0.22, 18, 1, 0.8, 0)
A(pfet_1, contact, -1.24, -0.595, 0.22, 0.22, 1, 10, 0, 0.51)
A(pfet_1, contact, 15.28, -0.595, 0.22, 0.22, 1, 10, 0, 0.51)
A(pfet_1, contact, -0.34, 0.36, 0.22, 0.22, 1, 7, 0, 0.51)
A(pfet_1, contact, 0.62, 0.36, 0.22, 0.22, 17, 7, 0.8, 0.51)
A(pfet_1, contact, 14.38, 0.36, 0.22, 0.22, 1, 7, 0, 0.51)
A(pfet_1, metal1, 0.14, -0.68, 0.38, 0.38, 18, 1, 0.8, 0)
A(pfet_1, metal1, 0.54, 0.28, 0.38, 3.44, 17, 1, 0.8, 0)
R(pfet_1, metal1, [(-0.42,0.28,-0.04,3.72), (14.3,0.28,14.68,3.72)])
pfet_1.add(gdstk.FlexPath([(0.14,-0.49),(14.12,-0.49)], 0.38, ends="flush", simple_path=True, layer=34, datatype=0))  # metal1
pfet_1.add(gdstk.FlexPath([(-1.38,4.8),(15.39,4.8),(15.39,-1.18),(-1.13,-1.18),(-1.13,4.55)], 0.5, ends="flush", simple_path=True, layer=34, datatype=0))  # metal1
pfet_1.add(gdstk.FlexPath([(-1.49,4.8),(15.39,4.8),(15.39,-1.18),(-1.13,-1.18),(-1.13,4.44)], 0.72, ends="flush", simple_path=True, layer=32, datatype=0))  # nplus
pfet_1.add(gdstk.Label('G', (0.22,-0.6), layer=34, texttype=10))
pfet_1.add(gdstk.Label('S', (-0.34,0.36), layer=34, texttype=10))
pfet_1.add(gdstk.Label('S', (14.38,0.36), layer=34, texttype=10))
pfet_1.add(gdstk.Label('S', (12.62,0.36), layer=34, texttype=10))
pfet_1.add(gdstk.Label('S', (11.02,0.36), layer=34, texttype=10))
pfet_1.add(gdstk.Label('S', (9.42,0.36), layer=34, texttype=10))
pfet_1.add(gdstk.Label('S', (7.82,0.365), layer=34, texttype=10))
pfet_1.add(gdstk.Label('S', (6.22,0.365), layer=34, texttype=10))
pfet_1.add(gdstk.Label('S', (4.62,0.36), layer=34, texttype=10))
pfet_1.add(gdstk.Label('S', (3.02,0.36), layer=34, texttype=10))
pfet_1.add(gdstk.Label('S', (1.42,0.365), layer=34, texttype=10))
pfet_1.add(gdstk.Label('D', (10.22,0.355), layer=34, texttype=10))
pfet_1.add(gdstk.Label('D', (8.62,0.355), layer=34, texttype=10))
pfet_1.add(gdstk.Label('D', (7.02,0.36), layer=34, texttype=10))
pfet_1.add(gdstk.Label('D', (5.42,0.36), layer=34, texttype=10))
pfet_1.add(gdstk.Label('D', (3.82,0.355), layer=34, texttype=10))
pfet_1.add(gdstk.Label('D', (2.22,0.355), layer=34, texttype=10))
pfet_1.add(gdstk.Label('D', (0.62,0.36), layer=34, texttype=10))
pfet_1.add(gdstk.Label('D', (11.82,0.355), layer=34, texttype=10))
pfet_1.add(gdstk.Label('D', (13.42,0.36), layer=34, texttype=10))
pfet_1.add(gdstk.Label('B', (-1.13,-1.18), layer=34, texttype=10))

m3_tgate = lib.new_cell('m3_tgate')
A(m3_tgate, via1, -0.6, -5.29, 0.26, 0.26, 1, 3, 0, 0.52)
A(m3_tgate, via1, 5.06, -5.28, 0.26, 0.26, 6, 1, 0.8, 0)
A(m3_tgate, via1, 4.52, -4.1, 0.26, 0.26, 1, 6, 0, 0.52)
A(m3_tgate, via1, 5.46, -4.1, 0.26, 0.26, 5, 6, 0.8, 0.52)
A(m3_tgate, via1, 9.6, -4.1, 0.26, 0.26, 1, 6, 0, 0.52)
A(m3_tgate, via1, 1.655, -3.08, 0.26, 0.26, 1, 3, 0, 0.52)
A(m3_tgate, via1, -5.1, 2.87, 0.26, 0.26, 1, 6, 0, 0.52)
A(m3_tgate, via1, -4.14, 2.87, 0.26, 0.26, 17, 6, 0.8, 0.52)
A(m3_tgate, via1, 9.62, 2.87, 0.26, 0.26, 1, 6, 0, 0.52)
R(m3_tgate, via1, [(-5.18,-4.17,-4.92,-3.91), (-3.385,-3.89,-3.125,-3.63), (-1.87,-3.89,-1.61,-3.63), (-1.35,-3.89,-1.09,-3.63), (-5.18,-3.65,-4.92,-3.39), (-4.025,-3.61,-3.765,-3.35), (-4.025,-3.09,-3.765,-2.83), (1.655,1.68,1.915,1.94)])
A(m3_tgate, via2, -3.34, 3.99, 0.26, 0.26, 8, 2, 1.6, 0.62)
R(m3_tgate, via2, [(-5.18,-2.88,-4.92,-2.62), (-4.105,-2.1,-3.845,-1.84), (-5.1,3.99,-4.84,4.25), (9.62,3.99,9.88,4.25), (-5.1,4.61,-4.84,4.87), (9.62,4.61,9.88,4.87), (-4.135,5.48,-3.875,5.74), (-2.54,5.48,-2.28,5.74), (-0.94,5.48,-0.68,5.74), (0.665,5.48,0.925,5.74), (2.26,5.48,2.52,5.74), (3.86,5.48,4.12,5.74), (5.465,5.48,5.725,5.74), (7.06,5.48,7.32,5.74), (8.66,5.48,8.92,5.74), (-4.135,6.1,-3.875,6.36), (-2.54,6.1,-2.28,6.36), (-0.94,6.1,-0.68,6.36), (0.665,6.1,0.925,6.36), (2.26,6.1,2.52,6.36), (3.86,6.1,4.12,6.36), (5.465,6.1,5.725,6.36), (7.06,6.1,7.32,6.36), (8.66,6.1,8.92,6.36)])
m3_tgate.add(gdstk.FlexPath([(1.785,-3.15),(1.785,-1.68)], 0.34, ends="flush", simple_path=True, layer=34, datatype=0))  # metal1
m3_tgate.add(gdstk.FlexPath([(-6.12,7.1),(10.65,7.1),(10.65,1.12),(-5.87,1.12),(-5.87,6.85)], 0.5, ends="flush", simple_path=True, layer=34, datatype=0))  # metal1
m3_tgate.add(gdstk.FlexPath([(3.52,0.13),(10.61,0.13),(10.61,-5.84),(3.77,-5.84),(3.77,-0.12)], 0.5, ends="flush", simple_path=True, layer=34, datatype=0))  # metal1
m3_tgate.add(gdstk.FlexPath([(-4.6,1.81),(9.38,1.81)], 0.38, ends="flush", simple_path=True, layer=34, datatype=0))  # metal1
m3_tgate.add(gdstk.FlexPath([(3.015,-6.09),(-6.12,-6.09)], 1, ends="flush", simple_path=True, layer=34, datatype=0))  # metal1
m3_tgate.add(gdstk.FlexPath([(2.565,0.87),(2.565,-0.55)], 0.9, ends="flush", simple_path=True, layer=34, datatype=0))  # metal1
m3_tgate.add(gdstk.FlexPath([(-5.405,0.87),(-5.405,-0.55)], 0.9, ends="flush", simple_path=True, layer=34, datatype=0))  # metal1
m3_tgate.add(gdstk.FlexPath([(10.9,7.35),(-6.12,7.35)], 1, ends="flush", simple_path=True, layer=34, datatype=0))  # metal1
m3_tgate.add(gdstk.FlexPath([(10.9,-6.09),(3.015,-6.09)], 1, ends="flush", simple_path=True, layer=34, datatype=0))  # metal1
m3_tgate.add(gdstk.FlexPath([(3.015,-1),(-5.855,-1)], 0.9, ends="flush", simple_path=True, layer=34, datatype=0))  # metal1
m3_tgate.add(gdstk.FlexPath([(-3.305,-3.76),(-3.065,-3.76)], 0.5, ends="flush", simple_path=True, layer=34, datatype=0))  # metal1
m3_tgate.add(gdstk.FlexPath([(-0.34,-3.76),(1.015,-3.76)], 0.5, ends="flush", simple_path=True, layer=34, datatype=0))  # metal1
m3_tgate.add(gdstk.FlexPath([(-1.93,-3.76),(-1.225,-3.76)], 0.5, ends="flush", simple_path=True, layer=34, datatype=0))  # metal1
m3_tgate.add(gdstk.FlexPath([(5,-5.15),(9.38,-5.15)], 0.38, ends="flush", simple_path=True, layer=34, datatype=0))  # metal1
m3_tgate.add(gdstk.FlexPath([(-6.23,7.1),(10.65,7.1),(10.65,1.12),(-5.87,1.12),(-5.87,6.74)], 0.72, ends="flush", simple_path=True, layer=32, datatype=0))  # nplus
m3_tgate.add(gdstk.FlexPath([(-3.725,-1.97),(-5.855,-1.97)], 0.5, ends="flush", simple_path=True, layer=42, datatype=0))  # metal3
m3_tgate.add(gdstk.FlexPath([(10.9,-2.75),(-5.855,-2.75)], 0.5, ends="flush", simple_path=True, layer=42, datatype=0))  # metal3
m3_tgate.add(gdstk.FlexPath([(10.4,4.43),(-6.12,4.43)], 1, ends="flush", simple_path=True, layer=42, datatype=0))  # metal3
m3_tgate.add(gdstk.FlexPath([(10.4,5.92),(-6.12,5.92)], 1, ends="flush", simple_path=True, layer=42, datatype=0))  # metal3
m3_tgate.add(gdstk.FlexPath([(-0.41,-4.9),(-0.41,-3.93)], 0.5, ends="flush", simple_path=True, layer=36, datatype=0))  # metal2
m3_tgate.add(gdstk.FlexPath([(9.38,-5.15),(-0.66,-5.15)], 0.5, ends="flush", simple_path=True, layer=36, datatype=0))  # metal2
m3_tgate.add(gdstk.FlexPath([(1.785,-3.15),(1.785,2)], 0.5, ends="flush", simple_path=True, layer=36, datatype=0))  # metal2
m3_tgate.add(gdstk.FlexPath([(7.99,-4.39),(7.99,6.42)], 0.38, ends="flush", simple_path=True, layer=36, datatype=0))  # metal2
m3_tgate.add(gdstk.FlexPath([(7.19,-4.39),(7.19,6.42)], 0.38, ends="flush", simple_path=True, layer=36, datatype=0))  # metal2
m3_tgate.add(gdstk.FlexPath([(4.53,-4.39),(4.53,-0.95)], 0.14, ends="flush", simple_path=True, layer=36, datatype=0))  # metal2
m3_tgate.add(gdstk.FlexPath([(6.39,-4.39),(6.39,6.42)], 0.38, ends="flush", simple_path=True, layer=36, datatype=0))  # metal2
m3_tgate.add(gdstk.FlexPath([(5.59,-4.39),(5.59,6.42)], 0.38, ends="flush", simple_path=True, layer=36, datatype=0))  # metal2
m3_tgate.add(gdstk.FlexPath([(9.59,-4.39),(9.59,6.42)], 0.38, ends="flush", simple_path=True, layer=36, datatype=0))  # metal2
m3_tgate.add(gdstk.FlexPath([(8.79,-4.39),(8.79,6.42)], 0.38, ends="flush", simple_path=True, layer=36, datatype=0))  # metal2
m3_tgate.add(gdstk.FlexPath([(9.85,-4.39),(9.85,-0.95)], 0.14, ends="flush", simple_path=True, layer=36, datatype=0))  # metal2
m3_tgate.add(gdstk.FlexPath([(9.86,2.58),(9.86,6.42)], 0.16, ends="flush", simple_path=True, layer=36, datatype=0))  # metal2
m3_tgate.add(gdstk.FlexPath([(4.79,-4.39),(4.79,6.42)], 0.38, ends="flush", simple_path=True, layer=36, datatype=0))  # metal2
m3_tgate.add(gdstk.FlexPath([(3.99,2.58),(3.99,6.42)], 0.38, ends="flush", simple_path=True, layer=36, datatype=0))  # metal2
m3_tgate.add(gdstk.FlexPath([(3.19,2.58),(3.19,6.42)], 0.38, ends="flush", simple_path=True, layer=36, datatype=0))  # metal2
m3_tgate.add(gdstk.FlexPath([(2.39,2.58),(2.39,6.42)], 0.38, ends="flush", simple_path=True, layer=36, datatype=0))  # metal2
m3_tgate.add(gdstk.FlexPath([(1.59,2.58),(1.59,6.42)], 0.38, ends="flush", simple_path=True, layer=36, datatype=0))  # metal2
m3_tgate.add(gdstk.FlexPath([(0.79,2.58),(0.79,6.42)], 0.38, ends="flush", simple_path=True, layer=36, datatype=0))  # metal2
m3_tgate.add(gdstk.FlexPath([(-0.01,2.58),(-0.01,6.42)], 0.38, ends="flush", simple_path=True, layer=36, datatype=0))  # metal2
m3_tgate.add(gdstk.FlexPath([(-0.81,2.58),(-0.81,6.42)], 0.38, ends="flush", simple_path=True, layer=36, datatype=0))  # metal2
m3_tgate.add(gdstk.FlexPath([(-1.61,2.58),(-1.61,6.42)], 0.38, ends="flush", simple_path=True, layer=36, datatype=0))  # metal2
m3_tgate.add(gdstk.FlexPath([(-2.41,2.58),(-2.41,6.42)], 0.38, ends="flush", simple_path=True, layer=36, datatype=0))  # metal2
m3_tgate.add(gdstk.FlexPath([(-3.21,2.58),(-3.21,6.42)], 0.38, ends="flush", simple_path=True, layer=36, datatype=0))  # metal2
m3_tgate.add(gdstk.FlexPath([(-4.01,2.58),(-4.01,6.42)], 0.38, ends="flush", simple_path=True, layer=36, datatype=0))  # metal2
m3_tgate.add(gdstk.FlexPath([(-4.81,2.58),(-4.81,6.42)], 0.38, ends="flush", simple_path=True, layer=36, datatype=0))  # metal2
m3_tgate.add(gdstk.FlexPath([(-5.08,2.58),(-5.08,6.42)], 0.16, ends="flush", simple_path=True, layer=36, datatype=0))  # metal2
m3_tgate.add(gdstk.FlexPath([(-5.05,-4.23),(-5.05,-2.56)], 0.5, ends="flush", simple_path=True, layer=36, datatype=0))  # metal2
m3_tgate.add(gdstk.FlexPath([(-3.975,-3.67),(-3.975,-1.78)], 0.5, ends="flush", simple_path=True, layer=36, datatype=0))  # metal2
m3_tgate.add(gdstk.FlexPath([(-1.03,-3.76),(-3.445,-3.76)], 0.5, ends="flush", simple_path=True, layer=36, datatype=0))  # metal2
m3_tgate.add(gdstk.Reference(c_gf180mcu_fd_sc_mcu9t5v0___, (-3.055,-6.04)))
m3_tgate.add(gdstk.Reference(c_gf180mcu_fd_sc_mcu9t5v0____, (0.305,-6.04)))
m3_tgate.add(gdstk.Reference(c_gf180mcu_fd_sc_mcu9t5v0____, (-1.935,-6.04)))
m3_tgate.add(gdstk.Reference(c_gf180mcu_fd_sc_mcu9t5v0_____, (-5.855,-6.04)))
m3_tgate.add(gdstk.Reference(nfet_1, (4.86,-4.67)))
m3_tgate.add(gdstk.Reference(pfet_1, (-4.74,2.3)))
m3_tgate.add(gdstk.Label('VDDD', (-5.84,7.835), layer=34, texttype=10))
m3_tgate.add(gdstk.Label('VDDD', (3.04,7.835), layer=34, texttype=10))
m3_tgate.add(gdstk.Label('VSSD', (-5.84,-6.475), layer=34, texttype=10))
m3_tgate.add(gdstk.Label('VSSD', (3.03,-6.575), layer=34, texttype=10))
m3_tgate.add(gdstk.Label('T1', (-5.84,5.92), layer=42, texttype=10))
m3_tgate.add(gdstk.Label('T2', (-5.84,4.43), layer=42, texttype=10))
m3_tgate.add(gdstk.Label('CON', (-5.84,-1.97), layer=42, texttype=10))
m3_tgate.add(gdstk.Label('EN', (-5.84,-2.75), layer=42, texttype=10))

m3_switch_cell = lib.new_cell('m3_switch_cell')
R(m3_switch_cell, via1, [(-5.37,-17.65,-5.11,-17.39), (-4.85,-17.65,-4.59,-17.39), (-5.37,-17.13,-5.11,-16.87), (-4.85,-17.13,-4.59,-16.87), (-5.37,-11.14,-5.11,-10.88), (-4.85,-11.14,-4.59,-10.88), (-5.37,-10.62,-5.11,-10.36), (-4.85,-10.62,-4.59,-10.36)])
R(m3_switch_cell, via2, [(4.7,-13.27,4.96,-13.01), (4.7,-9.735,4.96,-9.475)])
A(m3_switch_cell, via3, 6.41, -7.13, 0.26, 0.26, 4, 2, 0.52, 0.52)
A(m3_switch_cell, via3, 9.145, -5.64, 0.26, 0.26, 4, 2, 0.52, 0.52)
A(m3_switch_cell, via4, 9.145, -5.9, 0.26, 0.26, 4, 3, 0.52, 0.52)
m3_switch_cell.add(gdstk.FlexPath([(-8.205,-17.26),(22.85,-17.26)], 1, ends="flush", simple_path=True, layer=34, datatype=0))  # metal1
m3_switch_cell.add(gdstk.FlexPath([(-8.205,-3.82),(22.85,-3.82)], 1, ends="flush", simple_path=True, layer=34, datatype=0))  # metal1
m3_switch_cell.add(gdstk.FlexPath([(-6.75,-4.32),(-6.75,-5.26)], 1, ends="flush", simple_path=True, layer=34, datatype=0))  # metal1
m3_switch_cell.add(gdstk.FlexPath([(4.475,-5.71),(5.33,-5.71)], 0.9, ends="flush", simple_path=True, layer=34, datatype=0))  # metal1
m3_switch_cell.add(gdstk.FlexPath([(5.02,-12.17),(5.595,-12.17)], 0.9, ends="flush", simple_path=True, layer=34, datatype=0))  # metal1
m3_switch_cell.add(gdstk.FlexPath([(-8.205,-8.05),(22.85,-8.05)], 0.5, ends="flush", simple_path=True, layer=42, datatype=0))  # metal3
m3_switch_cell.add(gdstk.FlexPath([(-8.205,-8.83),(22.85,-8.83)], 0.5, ends="flush", simple_path=True, layer=42, datatype=0))  # metal3
m3_switch_cell.add(gdstk.FlexPath([(-8.205,-9.61),(-2.845,-9.61)], 0.5, ends="flush", simple_path=True, layer=42, datatype=0))  # metal3
m3_switch_cell.add(gdstk.FlexPath([(3.08,-9.61),(22.85,-9.61)], 0.5, ends="flush", simple_path=True, layer=42, datatype=0))  # metal3
m3_switch_cell.add(gdstk.FlexPath([(4.58,-13.14),(5.595,-13.14)], 0.5, ends="flush", simple_path=True, layer=42, datatype=0))  # metal3
m3_switch_cell.add(gdstk.FlexPath([(-8.205,-13.92),(22.85,-13.92)], 0.5, ends="flush", simple_path=True, layer=42, datatype=0))  # metal3
m3_switch_cell.add(gdstk.FlexPath([(-4.98,-10.3),(-4.98,-17.76)], 1, ends="flush", simple_path=True, layer=36, datatype=0))  # metal2
m3_switch_cell.add(gdstk.FlexPath([(4.83,-9.36),(4.83,-13.39)], 0.5, ends="flush", simple_path=True, layer=36, datatype=0))  # metal2
m3_switch_cell.add(gdstk.FlexPath([(7.32,-3.18),(7.32,-17.9)], 2, ends="flush", simple_path=True, layer=46, datatype=0))  # metal4
m3_switch_cell.add(gdstk.FlexPath([(10.055,-4.25),(10.055,-6.25)], 2, ends="flush", simple_path=True, layer=46, datatype=0))  # metal4
m3_switch_cell.add(gdstk.FlexPath([(-8.205,-5.25),(22.85,-5.25)], 2, ends="flush", simple_path=True, layer=81, datatype=0))  # metal5
m3_switch_cell.add(gdstk.Reference(m3_dff_2ph_clk, (3.355,-5.71)))
m3_switch_cell.add(gdstk.Reference(c_gf180mcu_fd_sc_mcu9t5v0__, (4.475,-17.21)))
m3_switch_cell.add(gdstk.Reference(m3_tgate, (11.45,-11.17)))
m3_switch_cell.add(gdstk.Label('VSSD', (-8.19,-17.26), layer=34, texttype=10))
m3_switch_cell.add(gdstk.Label('VDDD', (-8.19,-3.82), layer=34, texttype=10))
m3_switch_cell.add(gdstk.Label('T2', (12.61,-6.74), layer=42, texttype=10))
m3_switch_cell.add(gdstk.Label('EN', (-8.19,-13.92), layer=42, texttype=10))
m3_switch_cell.add(gdstk.Label('T1', (12.61,-5.25), layer=42, texttype=10))
m3_switch_cell.add(gdstk.Label('DATA_IN', (-4.005,-9.61), layer=42, texttype=10))
m3_switch_cell.add(gdstk.Label('CLK_PH2', (-4.005,-8.83), layer=42, texttype=10))
m3_switch_cell.add(gdstk.Label('CLK_PH1', (-4.005,-8.05), layer=42, texttype=10))
m3_switch_cell.add(gdstk.Label('DATA_OUT', (22.835,-9.61), layer=42, texttype=10))

lib.write_gds('m3_switch_cell.gds')
